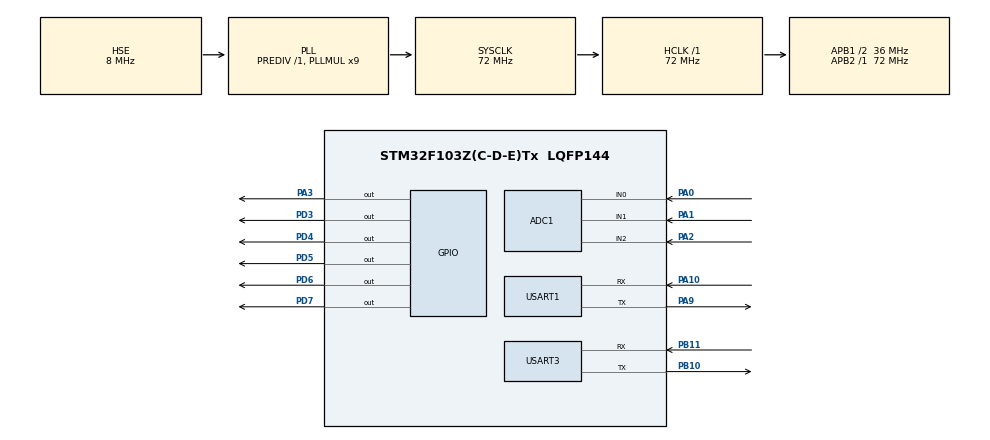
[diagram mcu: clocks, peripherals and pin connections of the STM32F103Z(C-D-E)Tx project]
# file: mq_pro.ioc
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ADC1.AWD1HighThreshold=4055
ADC1.AWD1ITMode=ENABLE
ADC1.AWD1LowThreshold=0
ADC1.Channel-0\#ChannelRegularConversion=ADC_CHANNEL_0
ADC1.Channel-1\#ChannelRegularConversion=ADC_CHANNEL_1
ADC1.Channel-2\#ChannelRegularConversion=ADC_CHANNEL_2
ADC1.ContinuousConvMode=ENABLE
ADC1.DataAlign=ADC_DATAALIGN_RIGHT
ADC1.DiscontinuousConvMode=DISABLE
ADC1.EnableAnalogWatchDog=true
ADC1.InjNumberOfConversion=0
ADC1.NbrOfConversion=3
ADC1.NbrOfConversionFlag=1
ADC1.Rank-0\#ChannelRegularConversion=1
ADC1.Rank-1\#ChannelRegularConversion=2
ADC1.Rank-2\#ChannelRegularConversion=3
ADC1.SamplingTime-0\#ChannelRegularConversion=ADC_SAMPLETIME_1CYCLE_5
ADC1.SamplingTime-1\#ChannelRegularConversion=ADC_SAMPLETIME_1CYCLE_5
ADC1.SamplingTime-2\#ChannelRegularConversion=ADC_SAMPLETIME_1CYCLE_5
ADC1.WatchdogMode=ADC_ANALOGWATCHDOG_ALL_REG
ADC1.master=1
Dma.ADC1.0.Direction=DMA_PERIPH_TO_MEMORY
Dma.ADC1.0.Instance=DMA1_Channel1
Dma.ADC1.0.MemDataAlignment=DMA_MDATAALIGN_WORD
Dma.ADC1.0.MemInc=DMA_MINC_ENABLE
Dma.ADC1.0.Mode=DMA_CIRCULAR
Dma.ADC1.0.PeriphDataAlignment=DMA_PDATAALIGN_WORD
Dma.ADC1.0.PeriphInc=DMA_PINC_DISABLE
Dma.ADC1.0.Priority=DMA_PRIORITY_LOW
Dma.Request0=ADC1
Mcu.Family=STM32F1
Mcu.Name=STM32F103Z(C-D-E)Tx
Mcu.Package=LQFP144
NVIC.ADC1_2_IRQn=true\:0\:0\:false\:false\:true\:true\:true
NVIC.DMA1_Channel1_IRQn=true\:0\:0\:false\:false\:true\:false\:true
NVIC.PriorityGroup=NVIC_PRIORITYGROUP_4
NVIC.USART1_IRQn=true\:0\:0\:false\:false\:true\:true\:true
NVIC.USART3_IRQn=true\:0\:0\:false\:false\:true\:true\:true
OSC_IN.Mode=HSE-External-Oscillator
OSC_IN.Signal=RCC_OSC_IN
OSC_OUT.Mode=HSE-External-Oscillator
OSC_OUT.Signal=RCC_OSC_OUT
PA0-WKUP.Signal=ADCx_IN0
PA1.Signal=ADCx_IN1
PA10.Mode=Asynchronous
PA10.Signal=USART1_RX
PA2.Signal=ADCx_IN2
PA3.GPIO_PuPd=GPIO_PULLUP
PA3.GPIO_Speed=GPIO_SPEED_FREQ_HIGH
PA3.Signal=GPIO_Output
PA9.Mode=Asynchronous
PA9.Signal=USART1_TX
PB10.Mode=Asynchronous
PB10.Signal=USART3_TX
PB11.Mode=Asynchronous
PB11.Signal=USART3_RX
PC14-OSC32_IN.Mode=LSE-External-Oscillator
PC14-OSC32_IN.Signal=RCC_OSC32_IN
PC15-OSC32_OUT.Mode=LSE-External-Oscillator
PC15-OSC32_OUT.Signal=RCC_OSC32_OUT
PD3.GPIO_PuPd=GPIO_PULLUP
PD3.GPIO_Speed=GPIO_SPEED_FREQ_HIGH
PD3.PinState=GPIO_PIN_SET
PD3.Signal=GPIO_Output
PD4.GPIO_PuPd=GPIO_PULLUP
PD4.GPIO_Speed=GPIO_SPEED_FREQ_HIGH
PD4.PinState=GPIO_PIN_SET
PD4.Signal=GPIO_Output
PD5.GPIO_PuPd=GPIO_PULLUP
PD5.GPIO_Speed=GPIO_SPEED_FREQ_HIGH
PD5.PinState=GPIO_PIN_SET
PD5.Signal=GPIO_Output
PD6.GPIO_PuPd=GPIO_PULLUP
PD6.GPIO_Speed=GPIO_SPEED_FREQ_HIGH
PD6.PinState=GPIO_PIN_SET
PD6.Signal=GPIO_Output
PD7.GPIO_PuPd=GPIO_PULLUP
PD7.GPIO_Speed=GPIO_SPEED_FREQ_HIGH
PD7.PinState=GPIO_PIN_SET
PD7.Signal=GPIO_Output
ProjectManager.HeapSize=0x200
ProjectManager.StackSize=0x400
ProjectManager.TargetToolchain=MDK-ARM V5
RCC.ADCPresc=RCC_ADCPCLK2_DIV8
RCC.AHBFreq_Value=72000000
RCC.APB1CLKDivider=RCC_HCLK_DIV2
RCC.APB1Freq_Value=36000000
RCC.APB1TimFreq_Value=72000000
RCC.APB2Freq_Value=72000000
RCC.APB2TimFreq_Value=72000000
RCC.HCLKFreq_Value=72000000
RCC.PLLMUL=RCC_PLL_MUL9
RCC.PLLSourceVirtual=RCC_PLLSOURCE_HSE
RCC.SYSCLKFreq_VALUE=72000000
RCC.SYSCLKSource=RCC_SYSCLKSOURCE_PLLCLK
RCC.USBFreq_Value=72000000
SH.ADCx_IN0.0=ADC1_IN0,IN0
SH.ADCx_IN1.0=ADC1_IN1,IN1
SH.ADCx_IN2.0=ADC1_IN2,IN2
TIM6.AutoReloadPreload=TIM_AUTORELOAD_PRELOAD_ENABLE
TIM6.Period=999
TIM6.Prescaler=71
USART1.VirtualMode=VM_ASYNC
USART3.VirtualMode=VM_ASYNC
VP_SYS_VS_ND.Mode=No_Debug
VP_TIM6_VS_ClockSourceINT.Mode=Enable_Timer
board=custom

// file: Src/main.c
/* USER CODE BEGIN Header */
/**
  ******************************************************************************
  * @file           : main.c
  * @brief          : Main program body
  ******************************************************************************
  * @attention
  *
  * <h2><center>&copy; Copyright (c) 2019 STMicroelectronics.
  * All rights reserved.</center></h2>
  *
  * This software component is licensed by ST under BSD 3-Clause license,
  * the "License"; You may not use this file except in compliance with the
  * License. You may obtain a copy of the License at:
  *                        opensource.org/licenses/BSD-3-Clause
  *
  ******************************************************************************
  */
/* USER CODE END Header */

#include "main.h"
#include "adc.h"
#include "dma.h"
#include "tim.h"
#include "usart.h"
#include "gpio.h"

/* USER CODE BEGIN Includes */
#include "stdio.h"
#include "oled.h"
#include "com.h"
/* USER CODE END Includes */

/* USER CODE BEGIN PD */
#define		Filter		20//均值滤波的大小
/* USER CODE END PD */

void SystemClock_Config(void);

/* USER CODE BEGIN 0 */
float Concentration[3] = {0};
uint32_t BUFF_DR[3] = {0};
uint32_t SUM[3] = {0};
uint8_t Finish = 0;
volatile uint8_t Order = 0;
/* USER CODE END 0 */

int main(void)
{

  /* MCU Configuration--------------------------------------------------------*/

  /* Reset of all peripherals, Initializes the Flash interface and the Systick. */
  HAL_Init();

  /* Configure the system clock */
  SystemClock_Config();

  /* Initialize all configured peripherals */
  MX_GPIO_Init();
  MX_DMA_Init();
  MX_TIM6_Init();
  MX_USART1_UART_Init();
  MX_ADC1_Init();
  MX_USART3_UART_Init();
  /* USER CODE BEGIN 2 */
	Delay_us_ON();
	OLED_Init();
	HAL_Delay(5);
	if((ADC1->CR2 & 0x01) == 0x01)//确认ADC1是否关电
	{
		ADC1->CR2 &= 0xFFFFFFFE;		//若未关电则关电ADC1
		HAL_Delay(1);
	}
	ADC1->CR2 |= 0x04;						//启动ADC1校准
	ADC1->CR2 |= 0x01;						//打开ADC1
	while((ADC1->CR2 & 0x04) == 0x04)printf("等待\r\n");//等待校准结束
	HAL_ADC_Start_DMA(&hadc1,BUFF_DR,3);//开始ADC1转换
	//OLED_Clear();
//	for(int i=10;i>0;i--)//预热两分钟，保证数据准确性
//	{
//		HAL_Delay(1000);
//		//printf("%d\r\n",i);
//		OLED_ShowNum(25,3,i,3,16);
//		OLED_ShowChar(53,3,'s');
//	}
	OLED_Clear();
	HAL_UART_Receive_IT(&huart3,&Order,1);
  /* USER CODE END 2 */

  /* Infinite loop */
  /* USER CODE BEGIN WHILE */
  while (1)
  {

		HAL_Delay(500);
		if(Finish == 1)
		{
			Finish = 0;
			Concentration[0] = ((float)(SUM[0]/Filter)/4095)*100;
			Concentration[1] = ((float)(SUM[1]/Filter)/4095)*100;
			Concentration[2] = ((float)(SUM[2]/Filter)/4095)*100;
			SUM[0] = 0;
			SUM[1] = 0;
			SUM[2] = 0;
			sendframe(Concentration[0], Concentration[1], Concentration[2]);
			printf("Con[0] = %0.2f%%  Con[1] = %0.2f%%  Con[2] = %0.2f%%\r\n",Concentration[0],Concentration[1],Concentration[2]);
			OLED_Clear();
			OLED_ShowString(2,2,"CO:");
			OLED_ShowFloat(50,2,Concentration[0],16);
			OLED_ShowString(98,2,"%");
			OLED_ShowString(2,4,"CH4:");
			OLED_ShowFloat(50,4,Concentration[1],16);
			OLED_ShowString(98,4,"%");
			OLED_ShowString(2,6,"Smog:");
			OLED_ShowFloat(50,6,Concentration[2],16);
			OLED_ShowString(98,6,"%");
			HAL_ADC_Start_DMA(&hadc1,BUFF_DR,3);//开始ADC1转换
		}

    /* USER CODE END WHILE */

  }
}

void SystemClock_Config(void)
{
  RCC_OscInitTypeDef RCC_OscInitStruct = {0};
  RCC_ClkInitTypeDef RCC_ClkInitStruct = {0};
  RCC_PeriphCLKInitTypeDef PeriphClkInit = {0};

  /** Initializes the CPU, AHB and APB busses clocks
  */
  RCC_OscInitStruct.OscillatorType = RCC_OSCILLATORTYPE_HSE;
  RCC_OscInitStruct.HSEState = RCC_HSE_ON;
  RCC_OscInitStruct.HSEPredivValue = RCC_HSE_PREDIV_DIV1;
  RCC_OscInitStruct.HSIState = RCC_HSI_ON;
  RCC_OscInitStruct.PLL.PLLState = RCC_PLL_ON;
  RCC_OscInitStruct.PLL.PLLSource = RCC_PLLSOURCE_HSE;
  RCC_OscInitStruct.PLL.PLLMUL = RCC_PLL_MUL9;
  if (HAL_RCC_OscConfig(&RCC_OscInitStruct) != HAL_OK)
  {
    Error_Handler();
  }
  /** Initializes the CPU, AHB and APB busses clocks
  */
  RCC_ClkInitStruct.ClockType = RCC_CLOCKTYPE_HCLK|RCC_CLOCKTYPE_SYSCLK
                              |RCC_CLOCKTYPE_PCLK1|RCC_CLOCKTYPE_PCLK2;
  RCC_ClkInitStruct.SYSCLKSource = RCC_SYSCLKSOURCE_PLLCLK;
  RCC_ClkInitStruct.AHBCLKDivider = RCC_SYSCLK_DIV1;
  RCC_ClkInitStruct.APB1CLKDivider = RCC_HCLK_DIV2;
  RCC_ClkInitStruct.APB2CLKDivider = RCC_HCLK_DIV1;

  if (HAL_RCC_ClockConfig(&RCC_ClkInitStruct, FLASH_LATENCY_2) != HAL_OK)
  {
    Error_Handler();
  }
  PeriphClkInit.PeriphClockSelection = RCC_PERIPHCLK_ADC;
  PeriphClkInit.AdcClockSelection = RCC_ADCPCLK2_DIV8;
  if (HAL_RCCEx_PeriphCLKConfig(&PeriphClkInit) != HAL_OK)
  {
    Error_Handler();
  }
}

/* USER CODE BEGIN 4 */
int fputc(int ch, FILE *f)
{
	while((USART1->SR & 0x40) == 0);//等待发送完毕
	USART1->DR = (uint8_t)ch;
	return ch;
}

void HAL_ADC_ConvCpltCallback(ADC_HandleTypeDef* hadc)
{
	static uint8_t cnt = 0;
  /* Prevent unused argument(s) compilation warning */
  UNUSED(hadc);
  /* NOTE : This function should not be modified. When the callback is needed,
            function HAL_ADC_ConvCpltCallback must be implemented in the user file.
   */
	cnt++;
	SUM[0]+=BUFF_DR[0]&0x0000ffff;
	SUM[1]+=BUFF_DR[1]&0x0000ffff;
	SUM[2]+=BUFF_DR[2]&0x0000ffff;
	if(cnt>Filter-1)
	{
		Finish = 1;
		cnt = 0;
		HAL_ADC_Stop_DMA(&hadc1);
	}
}
/* USER CODE END 4 */

void Error_Handler(void)
{
}

void HAL_UART_RxCpltCallback(UART_HandleTypeDef *huart)
{
  /* Prevent unused argument(s) compilation warning */
  UNUSED(huart);
  /* NOTE: This function Should not be modified, when the callback is needed,
           the HAL_UART_RxCpltCallback could be implemented in the user file
   */
	if(huart->Instance == USART3)
	{
		if(Order == 0xaa){
			GPIOA->BSRR = 0x00000008;
		}else{
			GPIOA->BSRR = 0x00080000;
		}
	}
	HAL_UART_Receive_IT(&huart3,&Order,1);
}

/************************ (C) COPYRIGHT STMicroelectronics *****END OF FILE****/
